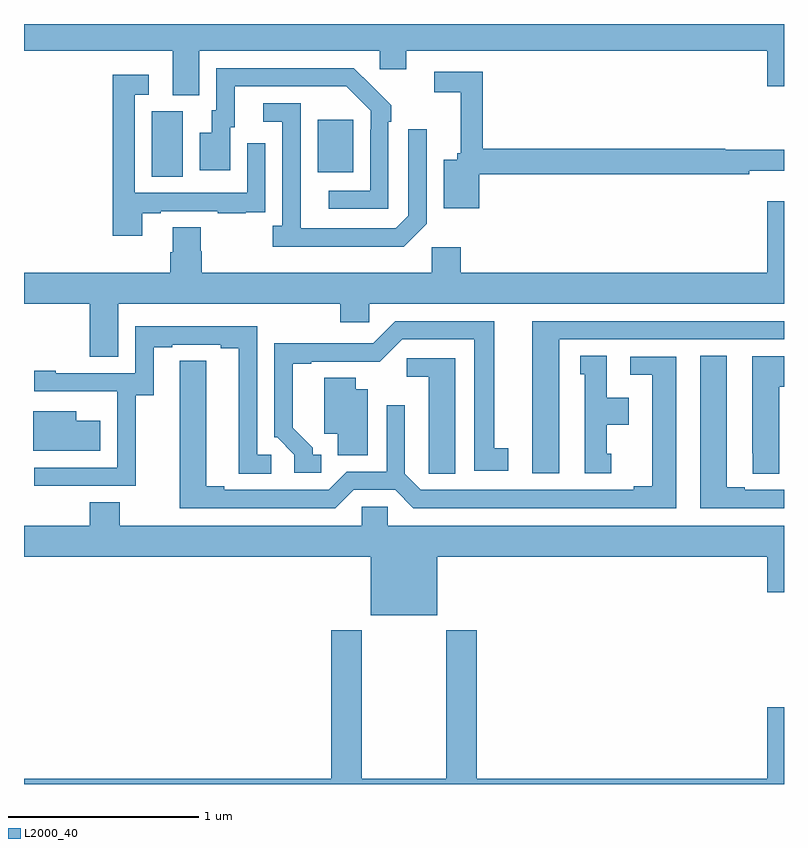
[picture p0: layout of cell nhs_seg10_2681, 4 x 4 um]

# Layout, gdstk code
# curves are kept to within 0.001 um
import gdstk
lib = gdstk.Library(unit=1e-6, precision=1e-09)
def R(c, l, rs):  # rectangles x0, y0, x1, y1
    for r in rs: c.add(gdstk.rectangle(r[:2], r[2:], *l))
def P(c, l, *ps):  # polygons
    for p in ps: c.add(gdstk.Polygon(p, *l))
L2000_40 = (2000, 40)

nhs_seg10_2681 = lib.new_cell('nhs_seg10_2681')
R(nhs_seg10_2681, L2000_40, [(257.672,1255.696,257.836,1256.04), (258.545,1255.721,258.733,1255.996)])
P(nhs_seg10_2681, L2000_40, [(257.923,1256.36),(258.873,1256.36),(258.873,1256.262),(259.012,1256.262),(259.012,1256.36),(260.912,1256.36),(260.912,1256.172),(261,1256.172),(261,1256.5),(257,1256.5),(257,1256.36),(257.783,1256.36),(257.783,1256.125),(257.923,1256.125)],
  [(258.918,1255.985),(258.933,1255.985),(258.933,1256.073),(258.736,1256.268),(258.012,1256.268),(258.012,1256.046),(257.987,1256.046),(257.987,1255.927),(257.924,1255.927),(257.924,1255.731),(258.085,1255.731),(258.085,1255.956),(258.109,1255.956),(258.109,1256.172),(258.697,1256.172),(258.825,1256.043),(258.825,1255.943),(258.822,1255.943),(258.822,1255.623),(258.603,1255.623),(258.603,1255.527),(258.918,1255.527)],
  [(259.396,1255.708),(260.816,1255.708),(260.816,1255.727),(261,1255.727),(261,1255.837),(260.692,1255.837),(260.692,1255.844),(259.415,1255.844),(259.415,1256.25),(259.158,1256.25),(259.158,1256.142),(259.298,1256.142),(259.298,1255.821),(259.28,1255.821),(259.28,1255.786),(259.208,1255.786),(259.208,1255.529),(259.396,1255.529)],
  [(257.623,1255.503),(257.719,1255.503),(257.719,1255.515),(258.019,1255.515),(258.019,1255.503),(258.167,1255.503),(258.167,1255.509),(258.269,1255.509),(258.269,1255.618),(258.27,1255.618),(258.27,1255.873),(258.174,1255.873),(258.174,1255.611),(257.583,1255.611),(257.583,1256.127),(257.656,1256.127),(257.656,1256.233),(257.467,1256.233),(257.467,1255.386),(257.623,1255.386)],
  [(259.119,1255.449),(259.119,1255.945),(259.023,1255.945),(259.023,1255.491),(258.957,1255.425),(258.457,1255.425),(258.456,1256.082),(258.258,1256.082),(258.258,1255.986),(258.36,1255.986),(258.36,1255.438),(258.309,1255.438),(258.309,1255.328),(258.998,1255.328)],
  [(257.497,1255.028),(258.665,1255.028),(258.665,1254.93),(258.816,1254.93),(258.816,1255.028),(261,1255.028),(261,1255.567),(260.912,1255.567),(260.912,1255.192),(259.298,1255.192),(259.298,1255.324),(259.146,1255.324),(259.146,1255.192),(257.936,1255.192),(257.936,1255.305),(257.931,1255.305),(257.931,1255.43),(257.783,1255.43),(257.783,1255.298),(257.771,1255.298),(257.771,1255.192),(257,1255.192),(257,1255.028),(257.345,1255.028),(257.345,1254.748),(257.497,1254.748)],
  [(258.565,1254.234),(258.52,1254.234),(258.52,1254.269),(258.415,1254.374),(258.415,1254.711),(258.511,1254.711),(258.511,1254.723),(258.872,1254.722),(258.99,1254.84),(259.37,1254.84),(259.37,1254.15),(259.549,1254.15),(259.549,1254.266),(259.474,1254.266),(259.474,1254.936),(258.954,1254.936),(258.837,1254.819),(258.581,1254.819),(258.581,1254.821),(258.318,1254.821),(258.318,1254.324),(258.333,1254.324),(258.423,1254.234),(258.423,1254.138),(258.565,1254.138)],
  [(259.816,1254.84),(261,1254.84),(261,1254.936),(259.676,1254.936),(259.676,1254.135),(259.816,1254.135)],
  [(257.589,1254.547),(257.683,1254.547),(257.683,1254.798),(257.779,1254.798),(257.779,1254.813),(258.035,1254.813),(258.035,1254.793),(258.131,1254.793),(258.131,1254.133),(258.301,1254.133),(258.301,1254.234),(258.228,1254.234),(258.228,1254.909),(257.586,1254.909),(257.586,1254.663),(257.167,1254.663),(257.167,1254.676),(257.055,1254.676),(257.055,1254.567),(257.489,1254.567),(257.489,1254.566),(257.49,1254.566),(257.49,1254.165),(257.055,1254.165),(257.055,1254.069),(257.589,1254.069)],
  [(260.092,1254.237),(260.068,1254.237),(260.068,1254.392),(260.182,1254.392),(260.182,1254.532),(260.068,1254.532),(260.068,1254.755),(259.928,1254.755),(259.928,1254.657),(259.952,1254.657),(259.952,1254.135),(260.092,1254.135)],
  [(261,1254.048),(260.794,1254.048),(260.794,1254.063),(260.698,1254.063),(260.698,1254.755),(260.558,1254.755),(260.558,1253.952),(261,1253.952)],
  [(260.974,1254.592),(261,1254.592),(261,1254.751),(260.834,1254.751),(260.834,1254.241),(260.835,1254.241),(260.835,1254.133),(260.974,1254.133)],
  [(258.735,1254.048),(258.953,1254.048),(259.049,1253.952),(260.434,1253.952),(260.434,1254.75),(260.19,1254.75),(260.19,1254.654),(260.306,1254.654),(260.306,1254.068),(260.21,1254.068),(260.21,1254.048),(259.089,1254.048),(259.005,1254.132),(259.005,1254.493),(258.909,1254.493),(258.909,1254.144),(258.699,1254.144),(258.603,1254.048),(258.055,1254.048),(258.055,1254.068),(257.959,1254.068),(257.959,1254.728),(257.82,1254.728),(257.819,1253.952),(258.639,1253.952)],
  [(259.27,1254.741),(259.014,1254.741),(259.014,1254.644),(259.13,1254.644),(259.13,1254.241),(259.131,1254.241),(259.131,1254.133),(259.27,1254.133)],
  [(258.808,1254.577),(258.745,1254.577),(258.745,1254.638),(258.581,1254.638),(258.581,1254.344),(258.65,1254.344),(258.65,1254.229),(258.808,1254.229)],
  [(257.401,1254.412),(257.275,1254.412),(257.275,1254.463),(257.048,1254.463),(257.048,1254.254),(257.401,1254.254)],
  [(258.915,1253.958),(258.777,1253.958),(258.777,1253.86),(257.505,1253.86),(257.505,1253.984),(257.345,1253.984),(257.345,1253.86),(257,1253.86),(257,1253.696),(258.824,1253.696),(258.824,1253.387),(259.174,1253.387),(259.174,1253.696),(260.912,1253.696),(260.912,1253.508),(261,1253.508),(261,1253.86),(258.915,1253.86)],
  [(261,1252.903),(260.912,1252.903),(260.912,1252.528),(259.382,1252.528),(259.382,1253.308),(259.222,1253.308),(259.222,1252.528),(258.777,1252.528),(258.777,1253.308),(258.617,1253.308),(258.617,1252.528),(257,1252.528),(257,1252.5),(261,1252.5)])

lib.write_gds('nhs_seg10_2681.gds')
